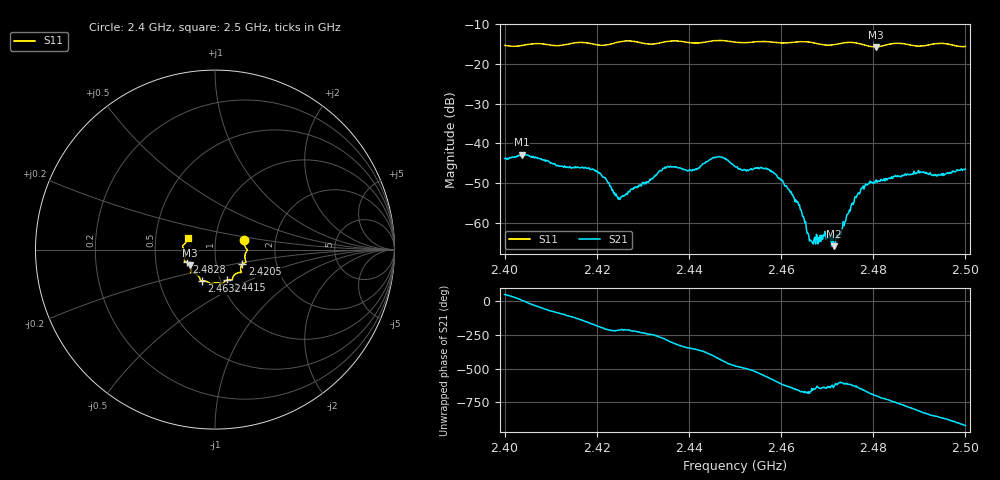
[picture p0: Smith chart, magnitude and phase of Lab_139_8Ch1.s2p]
# Hz S RI R 50
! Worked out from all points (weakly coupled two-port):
!   601 points, 2.4 GHz to 2.5 GHz, reference 50 ohm
!   highest |S21| = -42.82 dB at 2.4037 GHz (marker M1); lowest = -65.8 dB at 2.4715 GHz (marker M2)
!   lowest |S11| = -15.7 dB at 2.4805 GHz (marker M3), VSWR 1.39, Z = 37.3 - j6.71 ohm
!   |S11| at or under -10 dB: start of sweep to end of sweep
!   S12 and S22 are empty: the file has one direction only
!   S11 on the Smith chart (normalised r, x): 2.4 GHz: 1.38, +0.15; 2.4205 GHz: 1.34, -0.22; 2.4415 GHz: 1.07, -0.38; 2.4632 GHz: 0.82, -0.29; 2.4828 GHz: 0.72, -0.10; 2.5 GHz: 0.73, +0.10
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2.4e9  0.1633 0.0517  0.00428 0.00484  0 0  0 0
2.403667e9  0.1696 0.0129  0.00718 0.000842  0 0  0 0
2.416667e9  0.1729 -0.07  -0.00378 -0.0033  0 0  0 0
2.4205e9  0.1521 -0.0815  -0.00412 0.000751  0 0  0 0
2.425e9  0.1462 -0.1217  -0.00161 0.00114  0 0  0 0
2.433333e9  0.1004 -0.1516  -0.000575 0.00429  0 0  0 0
2.435667e9  0.0971 -0.1672  0.00225 0.0045  0 0  0 0
2.4415e9  0.0656 -0.1707  0.0048 0.000263  0 0  0 0
2.446167e9  0.0411 -0.1929  0.00334 -0.00583  0 0  0 0
2.45e9  0.0242 -0.1865  -0.00267 -0.00443  0 0  0 0
2.457667e9  -0.0297 -0.1867  -0.00366 0.00251  0 0  0 0
2.463167e9  -0.0732 -0.1738  0.000819 0.00178  0 0  0 0
2.466667e9  -0.0822 -0.1671  0.000187 0.000555  0 0  0 0
2.469667e9  -0.0963 -0.1436  0.000177 0.000714  0 0  0 0
2.4715e9  -0.114 -0.1324  2.29e-05 0.000509  0 0  0 0
2.472833e9  -0.1254 -0.13  -0.000396 0.000686  0 0  0 0
2.4765e9  -0.1327 -0.1256  0.00033 0.0022  0 0  0 0
2.478833e9  -0.1312 -0.106  0.00213 0.00221  0 0  0 0
2.4805e9  -0.1387 -0.0875  0.00322 0.0012  0 0  0 0
2.482833e9  -0.1586 -0.0701  0.00355 -0.000499  0 0  0 0
2.483333e9  -0.1625 -0.0682  0.00355 -0.000758  0 0  0 0
2.5e9  -0.1528 0.0643  -0.00444 0.00174  0 0  0 0
